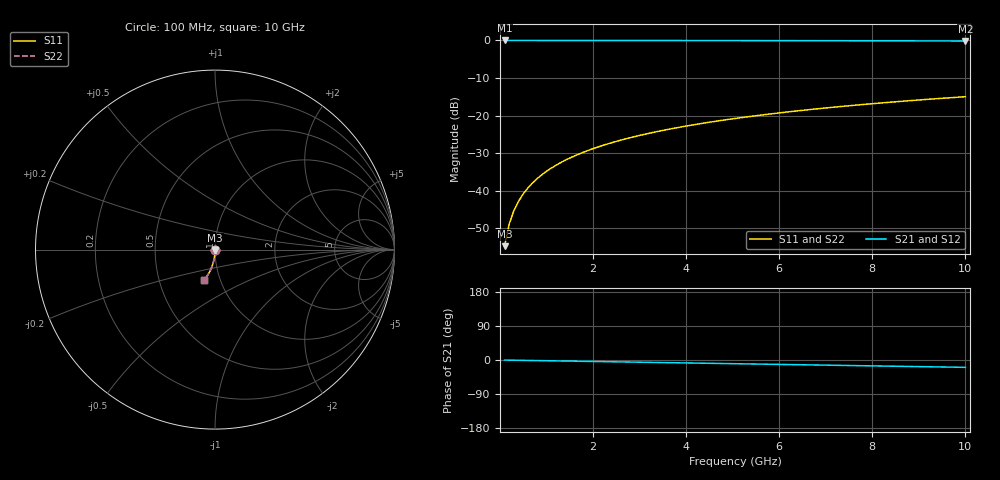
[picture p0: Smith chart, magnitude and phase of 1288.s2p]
# Hz S RI R 50.00
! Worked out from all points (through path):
!   100 points, 100 MHz to 10 GHz, reference 50 ohm
!   highest |S21| = 0.00 dB at 100 MHz (marker M1); lowest = -0.1 dB at 10 GHz (marker M2)
!   group delay of S21, straight-line fit = 5.39 ps
!   lowest |S11| = -54.8 dB at 100 MHz (marker M3), VSWR 1.00, Z = 50 - j0.181 ohm
!   |S11| at or under -10 dB: start of sweep to end of sweep
!   |S22| runs from -54.8 to -15.0 dB; largest |S21 - S12| = 0
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1e8  0.000224 -0.00181  0.9998 -0.00337  0.9998 -0.00337  0.000224 -0.00181
2e8  0.000205 -0.00362  0.9997 -0.00674  0.9997 -0.00674  0.000205 -0.00362
3e8  0.000173 -0.00543  0.9997 -0.0101  0.9997 -0.0101  0.000173 -0.00543
4e8  0.000129 -0.00724  0.9996 -0.0135  0.9996 -0.0135  0.000129 -0.00724
5e8  7.2e-05 -0.00905  0.9996 -0.0168  0.9996 -0.0168  7.2e-05 -0.00905
6e8  3.08e-06 -0.0109  0.9995 -0.0202  0.9995 -0.0202  3.08e-06 -0.0109
7e8  -7.81e-05 -0.0127  0.9994 -0.0236  0.9994 -0.0236  -7.81e-05 -0.0127
8e8  -0.000172 -0.0145  0.9993 -0.027  0.9993 -0.027  -0.000172 -0.0145
9e8  -0.000277 -0.0163  0.9991 -0.0303  0.9991 -0.0303  -0.000277 -0.0163
1.1e9  -0.000526 -0.0199  0.9988 -0.0371  0.9988 -0.0371  -0.000526 -0.0199
1.4e9  -0.00099 -0.0253  0.9983 -0.0472  0.9983 -0.0472  -0.00099 -0.0253
1.8e9  -0.00178 -0.0326  0.9973 -0.0606  0.9973 -0.0606  -0.00178 -0.0326
2.1e9  -0.0025 -0.038  0.9965 -0.0707  0.9965 -0.0707  -0.0025 -0.038
2.5e9  -0.00364 -0.0452  0.9951 -0.0842  0.9951 -0.0842  -0.00364 -0.0452
2.9e9  -0.00496 -0.0523  0.9935 -0.0976  0.9935 -0.0976  -0.00496 -0.0523
3.4e9  -0.0069 -0.0612  0.9912 -0.1144  0.9912 -0.1144  -0.0069 -0.0612
4.2e9  -0.0106 -0.0753  0.9867 -0.141  0.9867 -0.141  -0.0106 -0.0753
5.1e9  -0.0157 -0.0909  0.9806 -0.1708  0.9806 -0.1708  -0.0157 -0.0909
5.9e9  -0.021 -0.1045  0.9741 -0.1971  0.9741 -0.1971  -0.021 -0.1045
6.7e9  -0.0271 -0.1178  0.9668 -0.2231  0.9668 -0.2231  -0.0271 -0.1178
8.4e9  -0.0422 -0.1447  0.9484 -0.2772  0.9484 -0.2772  -0.0422 -0.1447
1e10  -0.0591 -0.1682  0.9277 -0.3264  0.9277 -0.3264  -0.0591 -0.1682
